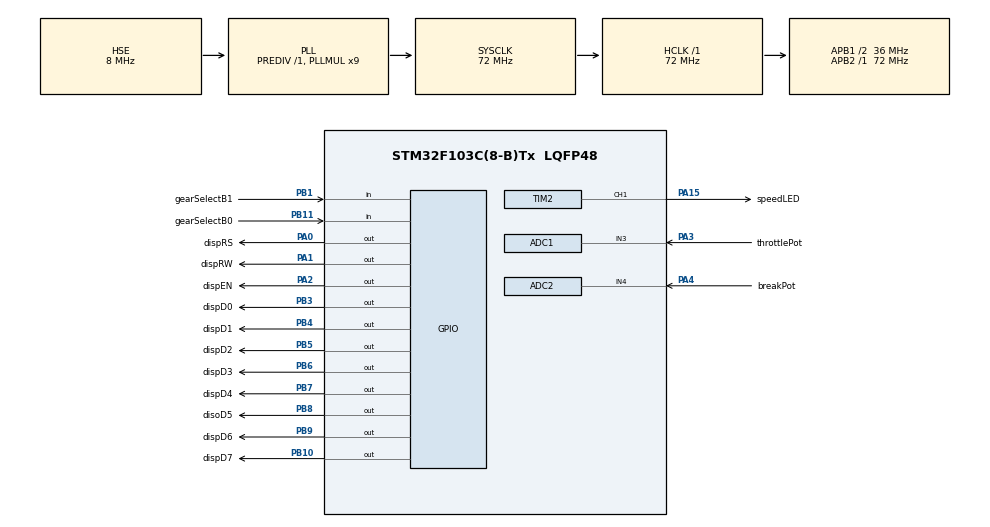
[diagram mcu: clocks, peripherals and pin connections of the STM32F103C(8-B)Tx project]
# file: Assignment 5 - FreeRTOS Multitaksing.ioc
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ADC1.Channel-1\#ChannelRegularConversion=ADC_CHANNEL_3
ADC1.NbrOfConversionFlag=1
ADC1.Rank-1\#ChannelRegularConversion=1
ADC1.SamplingTime-1\#ChannelRegularConversion=ADC_SAMPLETIME_1CYCLE_5
ADC1.master=1
ADC2.Channel-2\#ChannelRegularConversion=ADC_CHANNEL_4
ADC2.NbrOfConversionFlag=1
ADC2.Rank-2\#ChannelRegularConversion=1
ADC2.SamplingTime-2\#ChannelRegularConversion=ADC_SAMPLETIME_1CYCLE_5
FREERTOS.Queues01=breakQueue,16,uint16_t,0,Dynamic,NULL,NULL;throttleQueue,16,uint16_t,0,Dynamic,NULL,NULL;gearQueue,16,char,0,Dynamic,NULL,NULL;speedQueue,16,uint32_t,0,Dynamic,NULL,NULL
FREERTOS.Tasks01=breakTask,24,128,startBreakInputTask,Default,NULL,Dynamic,NULL,NULL;throttleTask,25,128,startThrottleInputTask,Default,NULL,Dynamic,NULL,NULL;gearSelectTask,26,128,startGearSelectTask,Default,NULL,Dynamic,NULL,NULL;dataProcTask,32,128,startDataProcessTask,Default,NULL,Dynamic,NULL,NULL;outputDispTask,40,128,startOutputDispTask,Default,NULL,Dynamic,NULL,NULL
FREERTOS.configTOTAL_HEAP_SIZE=4096
Mcu.Family=STM32F1
Mcu.Name=STM32F103C(8-B)Tx
Mcu.Package=LQFP48
NVIC.PriorityGroup=NVIC_PRIORITYGROUP_4
NVIC.TIM3_IRQn=true\:15\:0\:false\:false\:true\:false\:false\:true\:true
NVIC.TimeBase=TIM3_IRQn
NVIC.TimeBaseIP=TIM3
PA0-WKUP.GPIO_Label=dispRS
PA0-WKUP.Signal=GPIO_Output
PA1.GPIO_Label=dispRW
PA1.Signal=GPIO_Output
PA13.Mode=Serial_Wire
PA13.Signal=SYS_JTMS-SWDIO
PA14.Mode=Serial_Wire
PA14.Signal=SYS_JTCK-SWCLK
PA15.GPIO_Label=speedLED
PA15.Signal=S_TIM2_CH1_ETR
PA2.GPIO_Label=dispEN
PA2.Signal=GPIO_Output
PA3.GPIO_Label=throttlePot
PA3.Signal=ADCx_IN3
PA4.GPIO_Label=breakPot
PA4.Signal=ADCx_IN4
PB1.GPIO_Label=gearSelectB1
PB1.Signal=GPIO_Input
PB10.GPIO_Label=dispD7
PB10.Signal=GPIO_Output
PB11.GPIO_Label=gearSelectB0
PB11.Signal=GPIO_Input
PB3.GPIO_Label=dispD0
PB3.Signal=GPIO_Output
PB4.GPIO_Label=dispD1
PB4.Signal=GPIO_Output
PB5.GPIO_Label=dispD2
PB5.Signal=GPIO_Output
PB6.GPIO_Label=dispD3
PB6.Signal=GPIO_Output
PB7.GPIO_Label=dispD4
PB7.Signal=GPIO_Output
PB8.GPIO_Label=disoD5
PB8.Signal=GPIO_Output
PB9.GPIO_Label=dispD6
PB9.Signal=GPIO_Output
PD0-OSC_IN.Mode=HSE-External-Oscillator
PD0-OSC_IN.Signal=RCC_OSC_IN
PD1-OSC_OUT.Mode=HSE-External-Oscillator
PD1-OSC_OUT.Signal=RCC_OSC_OUT
ProjectManager.HeapSize=0x200
ProjectManager.StackSize=0x400
ProjectManager.TargetToolchain=STM32CubeIDE
RCC.ADCPresc=RCC_ADCPCLK2_DIV6
RCC.AHBFreq_Value=72000000
RCC.APB1CLKDivider=RCC_HCLK_DIV2
RCC.APB1Freq_Value=36000000
RCC.APB1TimFreq_Value=72000000
RCC.APB2Freq_Value=72000000
RCC.APB2TimFreq_Value=72000000
RCC.HCLKFreq_Value=72000000
RCC.PLLMUL=RCC_PLL_MUL9
RCC.PLLSourceVirtual=RCC_PLLSOURCE_HSE
RCC.SYSCLKFreq_VALUE=72000000
RCC.SYSCLKSource=RCC_SYSCLKSOURCE_PLLCLK
RCC.USBFreq_Value=72000000
SH.ADCx_IN3.0=ADC1_IN3,IN3
SH.ADCx_IN4.0=ADC2_IN4,IN4
SH.S_TIM2_CH1_ETR.0=TIM2_CH1,PWM Generation1 CH1
TIM2.Channel-PWM\ Generation1\ CH1=TIM_CHANNEL_1
VP_FREERTOS_VS_CMSIS_V2.Mode=CMSIS_V2
VP_SYS_VS_tim3.Mode=TIM3
board=custom

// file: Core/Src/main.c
/* USER CODE BEGIN Header */
/**
  ******************************************************************************
  * @file           : main.c
  * @brief          : Main program body
  ******************************************************************************
  * @attention
  *
  * Copyright (c) 2022 STMicroelectronics.
  * All rights reserved.
  *
  * This software is licensed under terms that can be found in the LICENSE file
  * in the root directory of this software component.
  * If no LICENSE file comes with this software, it is provided AS-IS.
  *
  ******************************************************************************
  */
/* USER CODE END Header */
#include "main.h"
#include "cmsis_os.h"

ADC_HandleTypeDef hadc1;
ADC_HandleTypeDef hadc2;

TIM_HandleTypeDef htim2;

/* Definitions for breakTask */
osThreadId_t breakTaskHandle;
const osThreadAttr_t breakTask_attributes = {
  .name = "breakTask",
  .stack_size = 128 * 4,
  .priority = (osPriority_t) osPriorityNormal,
};
/* Definitions for throttleTask */
osThreadId_t throttleTaskHandle;
const osThreadAttr_t throttleTask_attributes = {
  .name = "throttleTask",
  .stack_size = 128 * 4,
  .priority = (osPriority_t) osPriorityNormal1,
};
/* Definitions for gearSelectTask */
osThreadId_t gearSelectTaskHandle;
const osThreadAttr_t gearSelectTask_attributes = {
  .name = "gearSelectTask",
  .stack_size = 128 * 4,
  .priority = (osPriority_t) osPriorityNormal2,
};
/* Definitions for dataProcTask */
osThreadId_t dataProcTaskHandle;
const osThreadAttr_t dataProcTask_attributes = {
  .name = "dataProcTask",
  .stack_size = 128 * 4,
  .priority = (osPriority_t) osPriorityAboveNormal,
};
/* Definitions for outputDispTask */
osThreadId_t outputDispTaskHandle;
const osThreadAttr_t outputDispTask_attributes = {
  .name = "outputDispTask",
  .stack_size = 128 * 4,
  .priority = (osPriority_t) osPriorityHigh,
};
/* Definitions for breakQueue */
osMessageQueueId_t breakQueueHandle;
const osMessageQueueAttr_t breakQueue_attributes = {
  .name = "breakQueue"
};
/* Definitions for throttleQueue */
osMessageQueueId_t throttleQueueHandle;
const osMessageQueueAttr_t throttleQueue_attributes = {
  .name = "throttleQueue"
};
/* Definitions for gearQueue */
osMessageQueueId_t gearQueueHandle;
const osMessageQueueAttr_t gearQueue_attributes = {
  .name = "gearQueue"
};
/* Definitions for speedQueue */
osMessageQueueId_t speedQueueHandle;
const osMessageQueueAttr_t speedQueue_attributes = {
  .name = "speedQueue"
};
/* USER CODE BEGIN PV */
char LCDdir;
/* USER CODE END PV */

void SystemClock_Config(void);
static void MX_GPIO_Init(void);
static void MX_ADC1_Init(void);
static void MX_ADC2_Init(void);
static void MX_TIM2_Init(void);
void startBreakInputTask(void *argument);
void startThrottleInputTask(void *argument);
void startGearSelectTask(void *argument);
void startDataProcessTask(void *argument);
void startOutputDispTask(void *argument);

int main(void)
{

  /* MCU Configuration--------------------------------------------------------*/

  /* Reset of all peripherals, Initializes the Flash interface and the Systick. */
  HAL_Init();

  /* Configure the system clock */
  SystemClock_Config();

  /* Initialize all configured peripherals */
  MX_GPIO_Init();
  MX_ADC1_Init();
  MX_ADC2_Init();
  MX_TIM2_Init();
  /* USER CODE BEGIN 2 */
  HAL_TIM_Base_Start(&htim2);
  HAL_TIM_PWM_Start(&htim2, TIM_CHANNEL_1);
  /* USER CODE END 2 */

  /* Init scheduler */
  osKernelInitialize();

  /* Create the queue(s) */
  /* creation of breakQueue */
  breakQueueHandle = osMessageQueueNew (16, sizeof(uint16_t), &breakQueue_attributes);

  /* creation of throttleQueue */
  throttleQueueHandle = osMessageQueueNew (16, sizeof(uint16_t), &throttleQueue_attributes);

  /* creation of gearQueue */
  gearQueueHandle = osMessageQueueNew (16, sizeof(char), &gearQueue_attributes);

  /* creation of speedQueue */
  speedQueueHandle = osMessageQueueNew (16, sizeof(uint32_t), &speedQueue_attributes);

  /* Create the thread(s) */
  /* creation of breakTask */
  breakTaskHandle = osThreadNew(startBreakInputTask, NULL, &breakTask_attributes);

  /* creation of throttleTask */
  throttleTaskHandle = osThreadNew(startThrottleInputTask, NULL, &throttleTask_attributes);

  /* creation of gearSelectTask */
  gearSelectTaskHandle = osThreadNew(startGearSelectTask, NULL, &gearSelectTask_attributes);

  /* creation of dataProcTask */
  dataProcTaskHandle = osThreadNew(startDataProcessTask, NULL, &dataProcTask_attributes);

  /* creation of outputDispTask */
  outputDispTaskHandle = osThreadNew(startOutputDispTask, NULL, &outputDispTask_attributes);

  /* Start scheduler */
  osKernelStart();

  /* We should never get here as control is now taken by the scheduler */
  /* Infinite loop */
  while (1)
  {

  }
}

void SystemClock_Config(void)
{
  RCC_OscInitTypeDef RCC_OscInitStruct = {0};
  RCC_ClkInitTypeDef RCC_ClkInitStruct = {0};
  RCC_PeriphCLKInitTypeDef PeriphClkInit = {0};

  /** Initializes the RCC Oscillators according to the specified parameters
  * in the RCC_OscInitTypeDef structure.
  */
  RCC_OscInitStruct.OscillatorType = RCC_OSCILLATORTYPE_HSE;
  RCC_OscInitStruct.HSEState = RCC_HSE_ON;
  RCC_OscInitStruct.HSEPredivValue = RCC_HSE_PREDIV_DIV1;
  RCC_OscInitStruct.HSIState = RCC_HSI_ON;
  RCC_OscInitStruct.PLL.PLLState = RCC_PLL_ON;
  RCC_OscInitStruct.PLL.PLLSource = RCC_PLLSOURCE_HSE;
  RCC_OscInitStruct.PLL.PLLMUL = RCC_PLL_MUL9;
  if (HAL_RCC_OscConfig(&RCC_OscInitStruct) != HAL_OK)
  {
    Error_Handler();
  }

  /** Initializes the CPU, AHB and APB buses clocks
  */
  RCC_ClkInitStruct.ClockType = RCC_CLOCKTYPE_HCLK|RCC_CLOCKTYPE_SYSCLK
                              |RCC_CLOCKTYPE_PCLK1|RCC_CLOCKTYPE_PCLK2;
  RCC_ClkInitStruct.SYSCLKSource = RCC_SYSCLKSOURCE_PLLCLK;
  RCC_ClkInitStruct.AHBCLKDivider = RCC_SYSCLK_DIV1;
  RCC_ClkInitStruct.APB1CLKDivider = RCC_HCLK_DIV2;
  RCC_ClkInitStruct.APB2CLKDivider = RCC_HCLK_DIV1;

  if (HAL_RCC_ClockConfig(&RCC_ClkInitStruct, FLASH_LATENCY_2) != HAL_OK)
  {
    Error_Handler();
  }
  PeriphClkInit.PeriphClockSelection = RCC_PERIPHCLK_ADC;
  PeriphClkInit.AdcClockSelection = RCC_ADCPCLK2_DIV6;
  if (HAL_RCCEx_PeriphCLKConfig(&PeriphClkInit) != HAL_OK)
  {
    Error_Handler();
  }
}

static void MX_ADC1_Init(void)
{

  ADC_ChannelConfTypeDef sConfig = {0};

  /** Common config
  */
  hadc1.Instance = ADC1;
  hadc1.Init.ScanConvMode = ADC_SCAN_DISABLE;
  hadc1.Init.ContinuousConvMode = DISABLE;
  hadc1.Init.DiscontinuousConvMode = DISABLE;
  hadc1.Init.ExternalTrigConv = ADC_SOFTWARE_START;
  hadc1.Init.DataAlign = ADC_DATAALIGN_RIGHT;
  hadc1.Init.NbrOfConversion = 1;
  if (HAL_ADC_Init(&hadc1) != HAL_OK)
  {
    Error_Handler();
  }

  /** Configure Regular Channel
  */
  sConfig.Channel = ADC_CHANNEL_3;
  sConfig.Rank = ADC_REGULAR_RANK_1;
  sConfig.SamplingTime = ADC_SAMPLETIME_1CYCLE_5;
  if (HAL_ADC_ConfigChannel(&hadc1, &sConfig) != HAL_OK)
  {
    Error_Handler();
  }

}

static void MX_ADC2_Init(void)
{

  ADC_ChannelConfTypeDef sConfig = {0};

  /** Common config
  */
  hadc2.Instance = ADC2;
  hadc2.Init.ScanConvMode = ADC_SCAN_DISABLE;
  hadc2.Init.ContinuousConvMode = DISABLE;
  hadc2.Init.DiscontinuousConvMode = DISABLE;
  hadc2.Init.ExternalTrigConv = ADC_SOFTWARE_START;
  hadc2.Init.DataAlign = ADC_DATAALIGN_RIGHT;
  hadc2.Init.NbrOfConversion = 1;
  if (HAL_ADC_Init(&hadc2) != HAL_OK)
  {
    Error_Handler();
  }

  /** Configure Regular Channel
  */
  sConfig.Channel = ADC_CHANNEL_4;
  sConfig.Rank = ADC_REGULAR_RANK_1;
  sConfig.SamplingTime = ADC_SAMPLETIME_1CYCLE_5;
  if (HAL_ADC_ConfigChannel(&hadc2, &sConfig) != HAL_OK)
  {
    Error_Handler();
  }

}

static void MX_TIM2_Init(void)
{

  TIM_MasterConfigTypeDef sMasterConfig = {0};
  TIM_OC_InitTypeDef sConfigOC = {0};

  htim2.Instance = TIM2;
  htim2.Init.Prescaler = 0;
  htim2.Init.CounterMode = TIM_COUNTERMODE_UP;
  htim2.Init.Period = 65535;
  htim2.Init.ClockDivision = TIM_CLOCKDIVISION_DIV1;
  htim2.Init.AutoReloadPreload = TIM_AUTORELOAD_PRELOAD_DISABLE;
  if (HAL_TIM_PWM_Init(&htim2) != HAL_OK)
  {
    Error_Handler();
  }
  sMasterConfig.MasterOutputTrigger = TIM_TRGO_RESET;
  sMasterConfig.MasterSlaveMode = TIM_MASTERSLAVEMODE_DISABLE;
  if (HAL_TIMEx_MasterConfigSynchronization(&htim2, &sMasterConfig) != HAL_OK)
  {
    Error_Handler();
  }
  sConfigOC.OCMode = TIM_OCMODE_PWM1;
  sConfigOC.Pulse = 0;
  sConfigOC.OCPolarity = TIM_OCPOLARITY_HIGH;
  sConfigOC.OCFastMode = TIM_OCFAST_DISABLE;
  if (HAL_TIM_PWM_ConfigChannel(&htim2, &sConfigOC, TIM_CHANNEL_1) != HAL_OK)
  {
    Error_Handler();
  }
  HAL_TIM_MspPostInit(&htim2);

}

static void MX_GPIO_Init(void)
{
  GPIO_InitTypeDef GPIO_InitStruct = {0};

  /* GPIO Ports Clock Enable */
  __HAL_RCC_GPIOD_CLK_ENABLE();
  __HAL_RCC_GPIOA_CLK_ENABLE();
  __HAL_RCC_GPIOB_CLK_ENABLE();

  /*Configure GPIO pin Output Level */
  HAL_GPIO_WritePin(GPIOA, dispRS_Pin|dispRW_Pin|dispEN_Pin, GPIO_PIN_RESET);

  /*Configure GPIO pin Output Level */
  HAL_GPIO_WritePin(GPIOB, dispD7_Pin|dispD0_Pin|dispD1_Pin|dispD2_Pin
                          |dispD3_Pin|dispD4_Pin|disoD5_Pin|dispD6_Pin, GPIO_PIN_RESET);

  /*Configure GPIO pins : dispRS_Pin dispRW_Pin dispEN_Pin */
  GPIO_InitStruct.Pin = dispRS_Pin|dispRW_Pin|dispEN_Pin;
  GPIO_InitStruct.Mode = GPIO_MODE_OUTPUT_PP;
  GPIO_InitStruct.Pull = GPIO_NOPULL;
  GPIO_InitStruct.Speed = GPIO_SPEED_FREQ_LOW;
  HAL_GPIO_Init(GPIOA, &GPIO_InitStruct);

  /*Configure GPIO pins : gearSelectB1_Pin gearSelectB0_Pin */
  GPIO_InitStruct.Pin = gearSelectB1_Pin|gearSelectB0_Pin;
  GPIO_InitStruct.Mode = GPIO_MODE_INPUT;
  GPIO_InitStruct.Pull = GPIO_NOPULL;
  HAL_GPIO_Init(GPIOB, &GPIO_InitStruct);

  /*Configure GPIO pins : dispD7_Pin dispD0_Pin dispD1_Pin dispD2_Pin
                           dispD3_Pin dispD4_Pin disoD5_Pin dispD6_Pin */
  GPIO_InitStruct.Pin = dispD7_Pin|dispD0_Pin|dispD1_Pin|dispD2_Pin
                          |dispD3_Pin|dispD4_Pin|disoD5_Pin|dispD6_Pin;
  GPIO_InitStruct.Mode = GPIO_MODE_OUTPUT_PP;
  GPIO_InitStruct.Pull = GPIO_NOPULL;
  GPIO_InitStruct.Speed = GPIO_SPEED_FREQ_LOW;
  HAL_GPIO_Init(GPIOB, &GPIO_InitStruct);

}

/* USER CODE BEGIN 4 */
void LCD_init(){
	HAL_GPIO_WritePin(controlPort,dispRS_Pin,GPIO_PIN_RESET);
	HAL_GPIO_WritePin(controlPort,dispRW_Pin,GPIO_PIN_RESET);
	HAL_GPIO_WritePin(controlPort,dispEN_Pin,GPIO_PIN_RESET);
    LCD_cmd(setLCD_8bits_2Lines_smallFont);
    osDelay(250);
    LCD_cmd(DISPLAY_ON_C_OFF_B_OFF);
    osDelay(250);
    LCD_cmd(Clear_DISP);
    osDelay(250);
    set_LCD_dir('R');
    osDelay(250);
}
void LCD_cmd(char cx) {
	HAL_GPIO_WritePin(controlPort,dispRS_Pin,GPIO_PIN_RESET); // select IR register
	HAL_GPIO_WritePin(controlPort,dispRW_Pin,GPIO_PIN_RESET); // set Write mode
    HAL_GPIO_WritePin(controlPort,dispEN_Pin,GPIO_PIN_SET);    // set to clock data
    __NOP();
    dataPort -> ODR = (0b00000000000|cx) << 3;   // send out command
    __NOP();
    HAL_GPIO_WritePin(controlPort,dispEN_Pin,GPIO_PIN_RESET);  // complete external write cycle
}
void send_to_LCD(char xy){
	HAL_GPIO_WritePin(controlPort,dispRS_Pin,GPIO_PIN_SET);
	HAL_GPIO_WritePin(controlPort,dispRW_Pin,GPIO_PIN_RESET);
	HAL_GPIO_WritePin(controlPort,dispEN_Pin,GPIO_PIN_SET);
    __NOP();
	dataPort -> ODR = (0b00000000000|xy) << 3;
    __NOP();
    HAL_GPIO_WritePin(controlPort,dispEN_Pin,GPIO_PIN_RESET);
    osDelay(10);
}
void set_LCD_dir(char d){
    if(d == 'L'){
        LCD_cmd(EMS_DEC_S);
        LCDdir = 'L';
    } else if (d == 'R'){
        LCD_cmd(EMS_INC_S);
        LCDdir = 'R';
    }
}
void set_cursor_pos(char row,char col){
    unsigned char Pos = 0;
    switch (row){
        case 0: {
            Pos = 0x80|col;
            LCD_cmd(Pos);
        } break;
        case 1: {
            Pos = 0xC0|col;
            LCD_cmd(Pos);
        } break;
        default: __NOP(); break;
    }
    osDelay(10);
}
void move_cursor_n_times(int n, char dir){
    if (dir == 'R'){
        for (int i = 0; i <n ;i++){
        LCD_cmd(CURSOR_MOVE_RIGHT);
        }
    } else if (dir == 'L'){
        for (int i = 0; i <n ;i++){
        LCD_cmd(CURSOR_MOVE_LEFT);
        }
    }
}
void write_string_LCD(const char *s){
    while(*s)
        send_to_LCD(*s++);
    osDelay(10);
}
void write_int_LCD(int x){
    unsigned char UnitDigit  = 0;
    unsigned char TenthDigit = 0;
    unsigned char HundrethDigit = 0;
    HundrethDigit = x/100;
    TenthDigit = (x - HundrethDigit*100)/10;
    UnitDigit = x - TenthDigit*10 - HundrethDigit*100;
    if(LCDdir == 'R'){
        send_to_LCD(HundrethDigit+'0');
        send_to_LCD(TenthDigit+'0');
        send_to_LCD(UnitDigit+'0');
    } else if(LCDdir == 'L'){
        send_to_LCD(UnitDigit+'0');
        send_to_LCD(TenthDigit+'0');
        send_to_LCD(HundrethDigit+'0');
    }
}
/* USER CODE END 4 */

void startBreakInputTask(void *argument)
{
  /* USER CODE BEGIN 5 */
	HAL_ADCEx_Calibration_Start(&hadc1);
  /* Infinite loop */
  for(;;)
  {
	HAL_ADC_Start(&hadc1);
	HAL_ADC_PollForConversion(&hadc1,300);
	int breakMeasured = HAL_ADC_GetValue(&hadc1);
	int breakPercentage = breakMeasured*(100.0/4081.0);
	osMessageQueuePut(breakQueueHandle, &breakPercentage, 0, 200);
    osDelay(10);
  }
  /* USER CODE END 5 */
}

void startThrottleInputTask(void *argument)
{
  /* USER CODE BEGIN startThrottleInputTask */
	HAL_ADCEx_Calibration_Start(&hadc2);
  /* Infinite loop */
  for(;;)
  {
	HAL_ADC_Start(&hadc2);
	HAL_ADC_PollForConversion(&hadc2,300);
	int throttleMeasured = HAL_ADC_GetValue(&hadc2);
	int throttlePercentage = throttleMeasured*(100.0/4081.0);
	osMessageQueuePut(throttleQueueHandle, &throttlePercentage, 0, 200);
	osDelay(10);
  }
  /* USER CODE END startThrottleInputTask */
}

void startGearSelectTask(void *argument)
{
  /* USER CODE BEGIN startGearSelectTask */
	char N = 'N';
	char gear1 = '1';
	char gear2 = '2';
	int bit0,bit1;
  /* Infinite loop */
  for(;;)
  {
	bit0 = HAL_GPIO_ReadPin(GPIOB,gearSelectB0_Pin);
	bit1 = HAL_GPIO_ReadPin(GPIOB,gearSelectB1_Pin);
	if (bit0 == 1){
		osMessageQueuePut(gearQueueHandle,&N,0,200);
	} else if (bit1 == 1){
		osMessageQueuePut(gearQueueHandle,&gear2,0,200);
	} else osMessageQueuePut(gearQueueHandle,&gear1,0,200);
    osDelay(50);
  }
  /* USER CODE END startGearSelectTask */
}

void startDataProcessTask(void *argument)
{
  /* USER CODE BEGIN startDataProcessTask */
	int breakPercentageReceived = 0;
	int throttlePercentageReceived = 0;
	char requestedGear = 'N';
	int desiredSpeed = 0;
	int maxSpeed;
	int acceleration;
  /* Infinite loop */
  for(;;)
  {
	int breakPercentageSum = 0;
	int throttlePercentageSum = 0;
	for (int i = 0; i < 16; i++){
		osMessageQueueGet(breakQueueHandle,&breakPercentageReceived,NULL,250);
		osMessageQueueGet(throttleQueueHandle,&throttlePercentageReceived,NULL,250);
		breakPercentageSum = breakPercentageSum + breakPercentageReceived;
		throttlePercentageSum = throttlePercentageSum + throttlePercentageReceived;
	}
	int avgBreakPercentage = breakPercentageSum/16;
	int avgThrottlePercentage = throttlePercentageSum/16;
	osMessageQueueGet(gearQueueHandle,&requestedGear,NULL,250);
	if (requestedGear == 'N'){
		desiredSpeed = desiredSpeed - 400;
		if (desiredSpeed < 0) desiredSpeed = 0;
	} else if (requestedGear == '1'){
		maxSpeed = 80000;
		if (avgBreakPercentage == 0 && avgThrottlePercentage > 0){
			acceleration = 1600*(avgThrottlePercentage/100.0);
			desiredSpeed = desiredSpeed + acceleration;
		} else if (avgBreakPercentage > 0 && avgThrottlePercentage == 0){
			acceleration = -3200*(avgBreakPercentage/100.0);
			desiredSpeed = desiredSpeed + acceleration;
		} else if (avgBreakPercentage > 0 && avgThrottlePercentage > 0){
			acceleration = 0;
			desiredSpeed = desiredSpeed + acceleration;
		}
		if (desiredSpeed > maxSpeed) desiredSpeed = maxSpeed;
		if (desiredSpeed < 0) desiredSpeed = 0;
	} else if (requestedGear == '2'){
		maxSpeed = 200000;
		if (avgBreakPercentage == 0 && avgThrottlePercentage > 0){
			acceleration = 2400*(avgThrottlePercentage/100.0);
			desiredSpeed = desiredSpeed + acceleration;
		} else if (avgBreakPercentage > 0 && avgThrottlePercentage == 0){
			acceleration = -3200*(avgBreakPercentage/100.0);
			desiredSpeed = desiredSpeed + acceleration;
		} else if (avgBreakPercentage > 0 && avgThrottlePercentage > 0){
			acceleration = 0;
			desiredSpeed = desiredSpeed + acceleration;
		}
		if (desiredSpeed > maxSpeed) desiredSpeed = maxSpeed;
		if (desiredSpeed < 0) desiredSpeed = 0;
	}
	osMessageQueuePut(speedQueueHandle,&desiredSpeed,0,200);
    osDelay(100);
  }
  /* USER CODE END startDataProcessTask */
}

void startOutputDispTask(void *argument)
{
  /* USER CODE BEGIN startOutputDispTask */
	LCD_init();
	set_cursor_pos(0,0);
	write_string_LCD("Desired speed:");
	set_cursor_pos(1,11);
	write_string_LCD("km/hr");
	set_cursor_pos(1,7);
	uint32_t desiredSpeedReceived = 0;
	uint32_t avgDesiredSpeed;
  /* Infinite loop */
  for(;;)
  {
	uint32_t sumDesiredSpeed = 0;
	for (int i = 0; i < 16 ; i++){
		osMessageQueueGet(speedQueueHandle,&desiredSpeedReceived,NULL,250);
		sumDesiredSpeed = sumDesiredSpeed + desiredSpeedReceived;
	}
	avgDesiredSpeed = sumDesiredSpeed/16;
	uint16_t dutyCycle = avgDesiredSpeed*(65535.0/200000.0);
	int desiredSpeedInKM = avgDesiredSpeed/1000;
	__HAL_TIM_SetCompare(&htim2, TIM_CHANNEL_1, dutyCycle);
	write_int_LCD(desiredSpeedInKM);
	set_cursor_pos(1,7);
    osDelay(500);
  }
  /* USER CODE END startOutputDispTask */
}

void HAL_TIM_PeriodElapsedCallback(TIM_HandleTypeDef *htim)
{
  if (htim->Instance == TIM3) {
    HAL_IncTick();
  }
}

void Error_Handler(void)
{
  __disable_irq();
  while (1)
  {
  }
}
